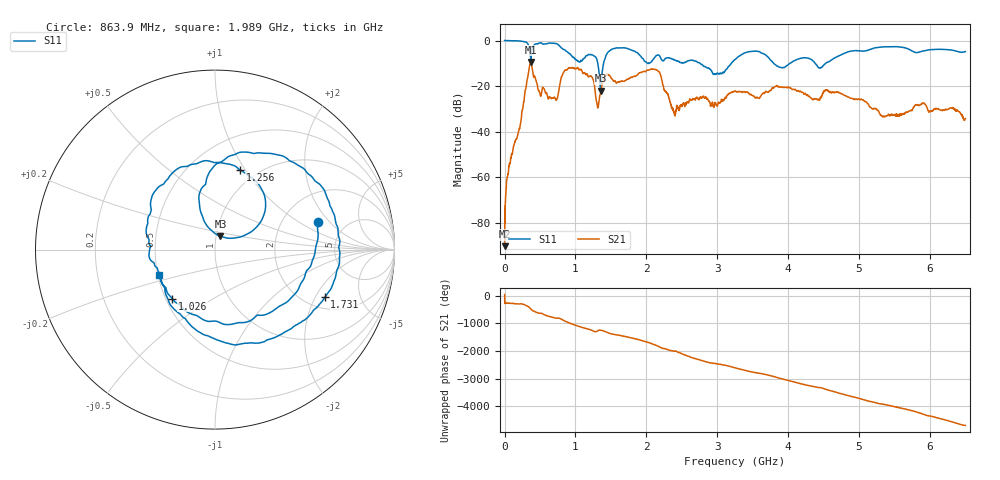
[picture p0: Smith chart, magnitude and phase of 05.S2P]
!Keysight Technologies,E5063A,MY54503115,A.05.08
!Date: Mon Dec 11 13:41:56 2023
!Data & Calibration Information:
!Freq	S11:NONE(--)	S21:NONE(--)	S12:NONE(--)	S22:NONE(--)
# Hz S dB R 50
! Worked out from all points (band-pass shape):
!   10001 points, 100 kHz to 6.5 GHz, reference 50 ohm
!   highest |S21| = -9.38 dB at 370.6 MHz (marker M1); lowest = -90.2 dB at 750 kHz (marker M2)
!   |S21| within 3 dB of the highest: 345.5 MHz to 391.9 MHz (46.43 MHz wide, 12.6 % of centre); 890.6 MHz to 994.5 MHz (103.9 MHz wide, 11 % of centre) (the widest 2 of 4)
!   lowest |S11| = -21.9 dB at 1.353 GHz (marker M3), VSWR 1.17, Z = 52.5 + j7.84 ohm
!   |S11| at or under -10 dB: 2.756 GHz to 3.197 GHz (440.7 MHz wide, 14.8 % of centre); 3.796 GHz to 4.026 GHz (229.7 MHz wide, 5.87 % of centre); 4.382 GHz to 4.527 GHz (144.4 MHz wide, 3.24 % of centre) (the widest 3 of 5)
!   S12 and S22 are empty: the file has one direction only
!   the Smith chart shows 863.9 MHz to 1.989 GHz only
!   S11 on the Smith chart (normalised r, x): 863.9 MHz: 3.16, +1.49; 1.026 GHz: 0.54, -0.34; 1.256 GHz: 0.84, +0.95; 1.731 GHz: 2.51, -2.40; 1.989 GHz: 0.50, -0.16
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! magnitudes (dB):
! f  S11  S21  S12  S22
! 100 kHz  0.0  -88.6  -  -
! 750 kHz  0.0  -90.2  -  -
! 58.6 MHz  0.0  -55.1  -  -
! 370.6 MHz  -8.0  -9.4  -  -
! 494.1 MHz  -1.1  -22.7  -  -
! 707.9 MHz  -1.3  -25.1  -  -
! 863.9 MHz  -4.5  -13.0  -  -
! 1.026 GHz  -8.8  -11.9  -  -
! 1.084 GHz  -8.8  -12.9  -  -
! 1.256 GHz  -6.6  -17.8  -  -
! 1.353 GHz  -21.9  -23.3  -  -
! 1.468 GHz  -4.8  -15.3  -  -
! 1.731 GHz  -3.5  -16.9  -  -
! 1.989 GHz  -9.3  -13.6  -  -
! 2.167 GHz  -6.3  -13.4  -  -
! 2.388 GHz  -8.3  -31.7  -  -
! 2.967 GHz  -14.7  -27.2  -  -
! 3.25 GHz  -8.3  -22.1  -  -
! 4.334 GHz  -8.4  -25.5  -  -
! 5.417 GHz  -2.7  -32.4  -  -
! 5.901 GHz  -4.6  -27.4  -  -
! 6.5 GHz  -4.8  -34.2  -  -
